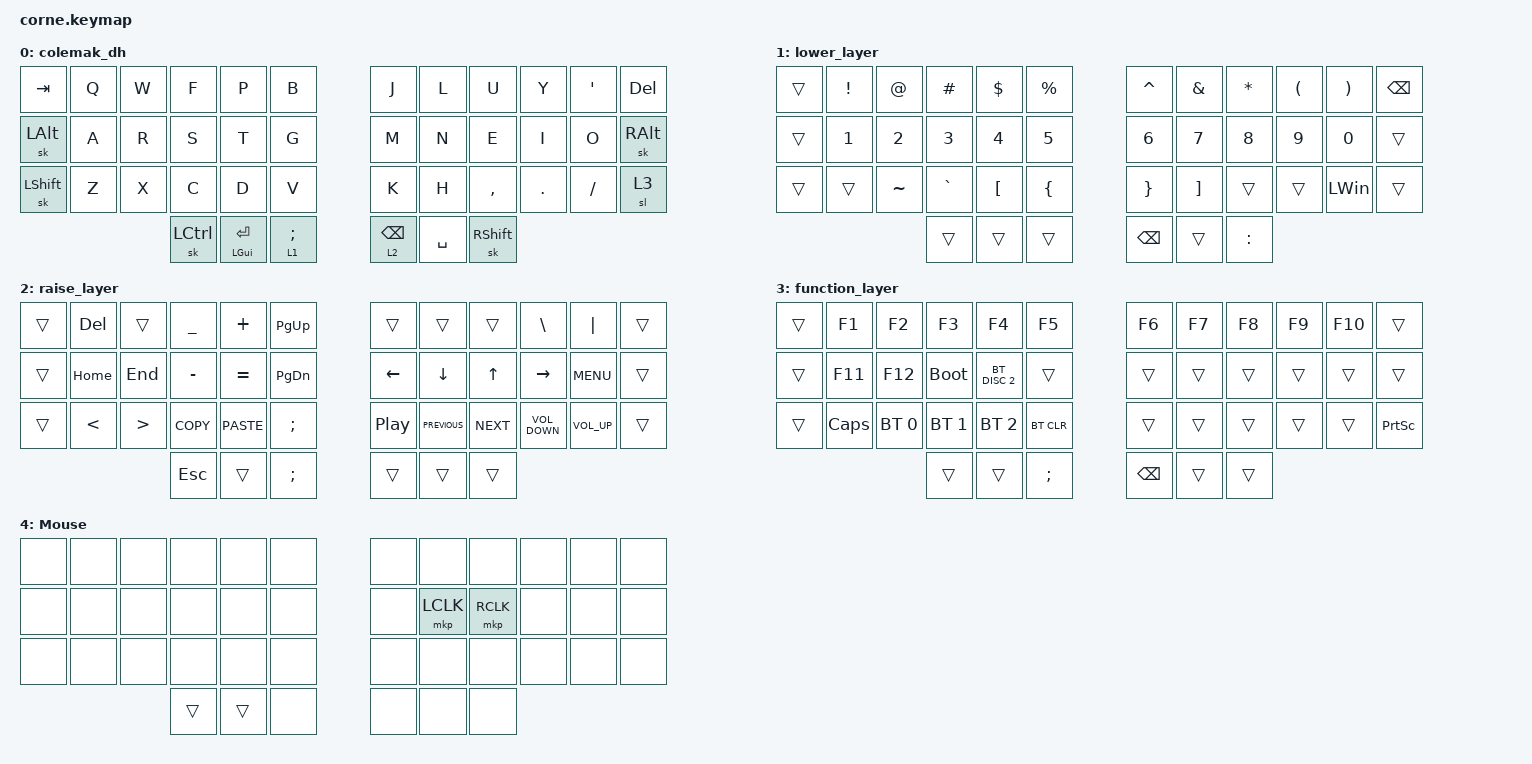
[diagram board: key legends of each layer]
/*
 * Copyright 2024 Michał Minarowski (@n3oney)
 * 
 * Originally created for QMK by Mark Stosberg (@markstos)
 * 
 * SPDX-License-Identifier: GPL-2.0-or-later
 */

#include <behaviors.dtsi>
#include <dt-bindings/zmk/bt.h>
#include <dt-bindings/zmk/keys.h>
#include <dt-bindings/zmk/mouse.h>

/ {
    combos {
        compatible = "zmk,combos";

        combo_mclk {
            timeout-ms = <50>;
            key-positions = <19 20>;
            bindings = <&mkp MCLK>;
            layers = <4>;
            slow-release;
        };
    };

    keymap {
        compatible = "zmk,keymap";

        colemak_dh {
            bindings = <
&kp TAB    &kp Q  &kp W  &kp F      &kp P               &kp B         &kp J            &kp L      &kp U            &kp Y    &kp SINGLE_QUOTE  &kp DELETE
&sk LALT   &kp A  &kp R  &kp S      &kp T               &kp G         &kp M            &kp N      &kp E            &kp I    &kp O             &sk RIGHT_ALT
&sk LSHFT  &kp Z  &kp X  &kp C      &kp D               &kp V         &kp K            &kp H      &kp COMMA        &kp DOT  &kp FSLH          &sl 3
                         &sk LCTRL  &mt LEFT_GUI ENTER  &lt 1 SEMI    &lt 2 BACKSPACE  &kp SPACE  &sk RIGHT_SHIFT
            >;
        };

        lower_layer {
            bindings = <
&trans  &kp EXCLAMATION  &kp AT_SIGN   &kp POUND     &kp DOLLAR        &kp PERCENT       &kp CARET        &kp AMPERSAND      &kp ASTERISK  &kp LEFT_PARENTHESIS  &kp RIGHT_PARENTHESIS  &kp BSPC
&trans  &kp NUMBER_1     &kp NUMBER_2  &kp NUMBER_3  &kp NUMBER_4      &kp NUMBER_5      &kp NUMBER_6     &kp NUMBER_7       &kp NUMBER_8  &kp NUMBER_9          &kp NUMBER_0           &trans
&trans  &trans           &kp TILDE     &kp GRAVE     &kp LEFT_BRACKET  &kp LEFT_BRACE    &kp RIGHT_BRACE  &kp RIGHT_BRACKET  &trans        &trans                &kp LEFT_WIN           &trans
                                       &trans        &trans            &trans            &kp BACKSPACE    &trans             &kp COLON
            >;
        };

        raise_layer {
            bindings = <
&trans  &kp DELETE     &trans            &kp UNDERSCORE  &kp PLUS     &kp PAGE_UP      &trans            &trans          &trans        &kp BACKSLASH      &kp PIPE         &trans
&trans  &kp HOME       &kp END           &kp MINUS       &kp EQUAL    &kp PAGE_DOWN    &kp LEFT          &kp DOWN        &kp UP_ARROW  &kp RIGHT          &kp K_MENU       &trans
&trans  &kp LESS_THAN  &kp GREATER_THAN  &kp K_COPY      &kp K_PASTE  &kp SEMICOLON    &kp C_PLAY_PAUSE  &kp C_PREVIOUS  &kp C_NEXT    &kp C_VOLUME_DOWN  &kp C_VOLUME_UP  &trans
                                         &kp ESCAPE      &trans       &kp SEMI         &trans            &trans          &trans
            >;
        };

        function_layer {
            bindings = <
&trans  &kp F1    &kp F2        &kp F3        &kp F4         &kp F5        &kp F6         &kp F7  &kp F8  &kp F9  &kp F10  &trans
&trans  &kp F11   &kp F12       &bootloader   &bt BT_DISC 2  &trans        &trans         &trans  &trans  &trans  &trans   &trans
&trans  &kp CAPS  &bt BT_SEL 0  &bt BT_SEL 1  &bt BT_SEL 2   &bt BT_CLR    &trans         &trans  &trans  &trans  &trans   &kp PRINTSCREEN
                                &trans        &trans         &kp SEMI      &kp BACKSPACE  &trans  &trans
            >;
        };

        mouse_layer {
            display-name = "Mouse";
            bindings = <
&none  &none  &none  &none  &none  &none    &none  &none      &none      &none  &none  &none
&none  &none  &none  &none  &none  &none    &none  &mkp LCLK  &mkp RCLK  &none  &none  &none
&none  &none  &none  &none  &none  &none    &none  &none      &none      &none  &none  &none
                     &trans &trans &none    &none  &none      &none
            >;
        };
    };
};
